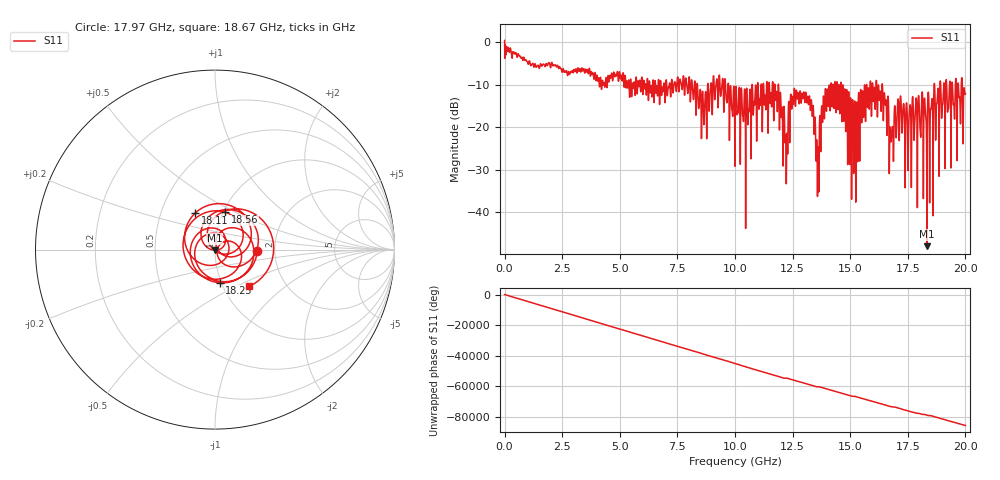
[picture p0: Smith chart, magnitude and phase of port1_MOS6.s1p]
! MS46122B
! 2250307/22442219
! 7/22/2025 3:15:45 PM
! C:\USERS\SPARKY\DOCUMENTS\VNA_DATA\JULY22_2025\295\PORT1_MOS6.S1P
! CHANNEL.1
! TR.MEASUREMENT
! RAW.DATA
# GHZ S RI R 50.0
! FREQ.GHZ  S11RE  S11IM
!; PortSelection: Port_1
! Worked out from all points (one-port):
!   10001 points, 1 MHz to 20 GHz, reference 50 ohm
!   lowest |S11| = -48.0 dB at 18.33 GHz (marker M1), VSWR 1.01, Z = 49.8 - j0.33 ohm
!   |S11| at or under -10 dB: 11.89 GHz to 14.17 GHz (2.279 GHz wide, 17.5 % of centre); 14.61 GHz to 15.71 GHz (1.1 GHz wide, 7.26 % of centre); 16.4 GHz to 18.64 GHz (2.245 GHz wide, 12.8 % of centre) (the widest 3 of 74)
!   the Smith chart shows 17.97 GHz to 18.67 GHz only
!   S11 on the Smith chart (normalised r, x): 17.97 GHz: 1.61, -0.03; 18.11 GHz: 0.74, +0.32; 18.25 GHz: 0.98, -0.38; 18.56 GHz: 1.02, +0.45; 18.67 GHz: 1.32, -0.59
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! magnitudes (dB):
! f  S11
! 1 MHz  0.4
! 2.501 GHz  -7.1
! 5.001 GHz  -7.2
! 7.501 GHz  -8.5
! 8.611 GHz  -12.7
! 9.139 GHz  -12.3
! 10 GHz  -24.0
! 11.8 GHz  -11.7
! 12.18 GHz  -23.3
! 12.5 GHz  -12.8
! 13.24 GHz  -12.8
! 13.57 GHz  -31.0
! 14.01 GHz  -11.1
! 15 GHz  -15.2
! 15.24 GHz  -26.4
! 15.54 GHz  -11.5
! 16.05 GHz  -10.8
! 16.57 GHz  -14.7
! 16.79 GHz  -22.6
! 17.13 GHz  -22.9
! 17.5 GHz  -25.5
! 17.97 GHz  -12.6
! 18.11 GHz  -12.7
! 18.25 GHz  -14.6
! 18.33 GHz  -48.0
! 18.56 GHz  -13.3
! 18.67 GHz  -11.1
! 20 GHz  -12.1
